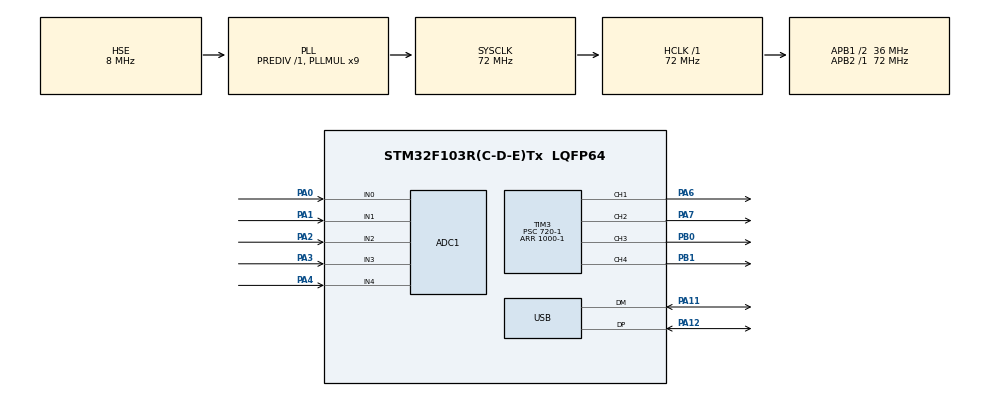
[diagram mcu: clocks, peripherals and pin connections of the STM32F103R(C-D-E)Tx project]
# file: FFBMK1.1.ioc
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ADC1.Channel-0\#ChannelRegularConversion=ADC_CHANNEL_0
ADC1.Channel-1\#ChannelRegularConversion=ADC_CHANNEL_1
ADC1.Channel-3\#ChannelRegularConversion=ADC_CHANNEL_2
ADC1.Channel-4\#ChannelRegularConversion=ADC_CHANNEL_3
ADC1.Channel-5\#ChannelRegularConversion=ADC_CHANNEL_4
ADC1.ContinuousConvMode=DISABLE
ADC1.DataAlign=ADC_DATAALIGN_RIGHT
ADC1.DiscontinuousConvMode=DISABLE
ADC1.EnableAnalogWatchDog=false
ADC1.EnableRegularConversion=ENABLE
ADC1.ExternalTrigConvEdgeChoice=NONE
ADC1.InjNumberOfConversion=0
ADC1.NbrOfConversion=5
ADC1.NbrOfConversionFlag=1
ADC1.Rank-0\#ChannelRegularConversion=1
ADC1.Rank-1\#ChannelRegularConversion=2
ADC1.Rank-3\#ChannelRegularConversion=3
ADC1.Rank-4\#ChannelRegularConversion=4
ADC1.Rank-5\#ChannelRegularConversion=5
ADC1.SamplingTime-0\#ChannelRegularConversion=ADC_SAMPLETIME_13CYCLES_5
ADC1.SamplingTime-1\#ChannelRegularConversion=ADC_SAMPLETIME_13CYCLES_5
ADC1.SamplingTime-3\#ChannelRegularConversion=ADC_SAMPLETIME_13CYCLES_5
ADC1.SamplingTime-4\#ChannelRegularConversion=ADC_SAMPLETIME_13CYCLES_5
ADC1.SamplingTime-5\#ChannelRegularConversion=ADC_SAMPLETIME_13CYCLES_5
ADC1.ScanConvMode=ADC_SCAN_ENABLE
ADC1.master=1
Dma.ADC1.0.Direction=DMA_PERIPH_TO_MEMORY
Dma.ADC1.0.Instance=DMA1_Channel1
Dma.ADC1.0.MemDataAlignment=DMA_MDATAALIGN_HALFWORD
Dma.ADC1.0.MemInc=DMA_MINC_ENABLE
Dma.ADC1.0.Mode=DMA_NORMAL
Dma.ADC1.0.PeriphDataAlignment=DMA_PDATAALIGN_HALFWORD
Dma.ADC1.0.PeriphInc=DMA_PINC_DISABLE
Dma.ADC1.0.Priority=DMA_PRIORITY_LOW
Dma.Request0=ADC1
Mcu.Family=STM32F1
Mcu.Name=STM32F103R(C-D-E)Tx
Mcu.Package=LQFP64
NVIC.DMA1_Channel1_IRQn=true\:0\:0\:false\:false\:true
NVIC.PriorityGroup=NVIC_PRIORITYGROUP_4
NVIC.USB_LP_CAN1_RX0_IRQn=true\:0\:0\:false\:false\:true
PA0-WKUP.Signal=ADCx_IN0
PA1.Signal=ADCx_IN1
PA11.Mode=Device
PA11.Signal=USB_DM
PA12.Mode=Device
PA12.Signal=USB_DP
PA13.Mode=Serial_Wire
PA13.Signal=SYS_JTMS-SWDIO
PA14.Mode=Serial_Wire
PA14.Signal=SYS_JTCK-SWCLK
PA2.Signal=ADCx_IN2
PA3.Signal=ADCx_IN3
PA4.Signal=ADCx_IN4
PA6.Signal=S_TIM3_CH1
PA7.Signal=S_TIM3_CH2
PB0.Signal=S_TIM3_CH3
PB1.Signal=S_TIM3_CH4
PD0-OSC_IN.Mode=HSE-External-Oscillator
PD0-OSC_IN.Signal=RCC_OSC_IN
PD1-OSC_OUT.Mode=HSE-External-Oscillator
PD1-OSC_OUT.Signal=RCC_OSC_OUT
ProjectManager.HeapSize=0x200
ProjectManager.StackSize=0x400
ProjectManager.TargetToolchain=MDK-ARM V4
RCC.ADCPresc=RCC_ADCPCLK2_DIV6
RCC.AHBFreq_Value=72000000
RCC.APB1CLKDivider=RCC_HCLK_DIV2
RCC.APB1Freq_Value=36000000
RCC.APB1TimFreq_Value=72000000
RCC.APB2Freq_Value=72000000
RCC.APB2TimFreq_Value=72000000
RCC.HCLKFreq_Value=72000000
RCC.HSIState=RCC_HSI_ON
RCC.PLLMUL=RCC_PLL_MUL9
RCC.SYSCLKFreq_VALUE=72000000
RCC.SYSCLKSource=RCC_SYSCLKSOURCE_PLLCLK
RCC.USBFreq_Value=48000000
RCC.USBPrescaler=RCC_USBCLKSOURCE_PLL_DIV1_5
SH.ADCx_IN0.0=ADC1_IN0,IN0
SH.ADCx_IN1.0=ADC1_IN1,IN1
SH.ADCx_IN2.0=ADC1_IN2,IN2
SH.ADCx_IN3.0=ADC1_IN3,IN3
SH.ADCx_IN4.0=ADC1_IN4,IN4
SH.S_TIM3_CH1.0=TIM3_CH1,PWM Generation1 CH1
SH.S_TIM3_CH2.0=TIM3_CH2,PWM Generation2 CH2
SH.S_TIM3_CH3.0=TIM3_CH3,PWM Generation3 CH3
SH.S_TIM3_CH4.0=TIM3_CH4,PWM Generation4 CH4
TIM3.Channel-PWM\ Generation2\ CH2=TIM_CHANNEL_2
TIM3.Channel-PWM\ Generation3\ CH3=TIM_CHANNEL_3
TIM3.Channel-PWM\ Generation4\ CH4=TIM_CHANNEL_4
TIM3.OCMode_PWM-PWM\ Generation1\ CH1=TIM_OCMODE_PWM2
TIM3.OCMode_PWM-PWM\ Generation2\ CH2=TIM_OCMODE_PWM2
TIM3.OCMode_PWM-PWM\ Generation3\ CH3=TIM_OCMODE_PWM2
TIM3.OCMode_PWM-PWM\ Generation4\ CH4=TIM_OCMODE_PWM2
TIM3.Period=1000-1
TIM3.Prescaler=720-1
TIM3.Pulse-PWM\ Generation1\ CH1=101
TIM3.Pulse-PWM\ Generation2\ CH2=202
TIM3.Pulse-PWM\ Generation3\ CH3=303
TIM3.Pulse-PWM\ Generation4\ CH4=404
USB.ep0_mps=DEP0CTL_MPS_64
USB_DEVICE.CONFIGURATION_STRING_HID_FS=HID-PID FFBMK1
USB_DEVICE.INTERFACE_STRING_HID_FS=PID Interface FFBMK1
USB_DEVICE.PRODUCT_STRING_HID_FS=STM32 Human interface FFBMK1
USB_DEVICE.USBD_HandleTypeDef=hUsbDeviceFS
USB_DEVICE.USBD_SELF_POWERED=0
USB_DEVICE.USBD_SUPPORT_USER_STRING=1
USB_DEVICE.VirtualMode=Hid
USB_DEVICE.VirtualModeFS=Hid_FS
VP_USB_DEVICE_VS_USB_DEVICE_HID_FS.Mode=HID_FS
board=FFBMK1.1

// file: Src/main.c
/**
  ******************************************************************************
  * File Name      : main.c
  * Description    : Main program body
  ******************************************************************************
  *
  * COPYRIGHT(c) 2016 STMicroelectronics
  *
  * Redistribution and use in source and binary forms, with or without modification,
  * are permitted provided that the following conditions are met:
  *   1. Redistributions of source code must retain the above copyright notice,
  *    this list of conditions and the following disclaimer.
  *   2. Redistributions in binary form must reproduce the above copyright notice,
  *    this list of conditions and the following disclaimer in the documentation
  *    and/or other materials provided with the distribution.
  *   3. Neither the name of STMicroelectronics nor the names of its contributors
  *    may be used to endorse or promote products derived from this software
  *    without specific prior written permission.
  *
  * THIS SOFTWARE IS PROVIDED BY THE COPYRIGHT HOLDERS AND CONTRIBUTORS "AS IS"
  * AND ANY EXPRESS OR IMPLIED WARRANTIES, INCLUDING, BUT NOT LIMITED TO, THE
  * IMPLIED WARRANTIES OF MERCHANTABILITY AND FITNESS FOR A PARTICULAR PURPOSE ARE
  * DISCLAIMED. IN NO EVENT SHALL THE COPYRIGHT HOLDER OR CONTRIBUTORS BE LIABLE
  * FOR ANY DIRECT, INDIRECT, INCIDENTAL, SPECIAL, EXEMPLARY, OR CONSEQUENTIAL
  * DAMAGES (INCLUDING, BUT NOT LIMITED TO, PROCUREMENT OF SUBSTITUTE GOODS OR
  * SERVICES; LOSS OF USE, DATA, OR PROFITS; OR BUSINESS INTERRUPTION) HOWEVER
  * CAUSED AND ON ANY THEORY OF LIABILITY, WHETHER IN CONTRACT, STRICT LIABILITY,
  * OR TORT (INCLUDING NEGLIGENCE OR OTHERWISE) ARISING IN ANY WAY OUT OF THE USE
  * OF THIS SOFTWARE, EVEN IF ADVISED OF THE POSSIBILITY OF SUCH DAMAGE.
  *
  ******************************************************************************
  */
#include "stm32f1xx_hal.h"
#include "usb_device.h"

/* USER CODE BEGIN Includes */
#include "usbd_hid.h"
#include "ffb_stick.h"
/* USER CODE END Includes */

ADC_HandleTypeDef hadc1;
DMA_HandleTypeDef hdma_adc1;
TIM_HandleTypeDef htim3;

/* USER CODE BEGIN PV */
/* Private variables ---------------------------------------------------------*/
const uint8_t Converted_Values_len = 5;
uint32_t ADC_Converted_Values[Converted_Values_len];
/* USER CODE END PV */

void SystemClock_Config(void);
void Error_Handler(void);
static void MX_GPIO_Init(void);
static void MX_DMA_Init(void);
static void MX_ADC1_Init(void);
static void MX_TIM3_Init(void);

void HAL_TIM_MspPostInit(TIM_HandleTypeDef *htim);

/* USER CODE BEGIN PFP */
/* Private function prototypes -----------------------------------------------*/
void HAL_ADC_ConvCpltCallback(ADC_HandleTypeDef *hadc);
void User_Defined_Init(void);
void HAL_GPIO_EXTI_Callback(uint16_t GPIO_Pin);
/* USER CODE END PFP */

int main(void) {

  /* MCU Configuration----------------------------------------------------------*/

  /* Reset of all peripherals, Initializes the Flash interface and the Systick. */
  HAL_Init();

  /* Configure the system clock */
  SystemClock_Config();

  /* Initialize all configured peripherals */
  MX_GPIO_Init();
  MX_DMA_Init();
  MX_ADC1_Init();
  MX_USB_DEVICE_Init();
  MX_TIM3_Init();

  /* USER CODE BEGIN 2 */
  User_Defined_Init(); //GPIO Init
	stick_Init();
	HAL_Delay(20);
	HAL_GPIO_WritePin(GPIOC, GPIO_PIN_10, GPIO_PIN_RESET);
  /* USER CODE END 2 */

  /* Infinite loop */
  while (1) {
    /* USER CODE BEGIN WHILE */
    HAL_ADC_Start_DMA(&hadc1, ADC_Converted_Values, Converted_Values_len);
    stick_EffectExecuter();
    //HAL_Delay(5);
    /* USER CODE END WHILE */
  };

}

/** System Clock Configuration
*/
void SystemClock_Config(void) {

  RCC_OscInitTypeDef RCC_OscInitStruct;
  RCC_ClkInitTypeDef RCC_ClkInitStruct;
  RCC_PeriphCLKInitTypeDef PeriphClkInit;

  RCC_OscInitStruct.OscillatorType = RCC_OSCILLATORTYPE_HSE;
  RCC_OscInitStruct.HSEState = RCC_HSE_ON;
  RCC_OscInitStruct.HSEPredivValue = RCC_HSE_PREDIV_DIV1;
  RCC_OscInitStruct.PLL.PLLState = RCC_PLL_ON;
  RCC_OscInitStruct.PLL.PLLSource = RCC_PLLSOURCE_HSE;
  RCC_OscInitStruct.PLL.PLLMUL = RCC_PLL_MUL9;
  if (HAL_RCC_OscConfig(&RCC_OscInitStruct) != HAL_OK) {
    Error_Handler();
  }

  RCC_ClkInitStruct.ClockType = RCC_CLOCKTYPE_HCLK | RCC_CLOCKTYPE_SYSCLK
                  | RCC_CLOCKTYPE_PCLK1 | RCC_CLOCKTYPE_PCLK2;
  RCC_ClkInitStruct.SYSCLKSource = RCC_SYSCLKSOURCE_PLLCLK;
  RCC_ClkInitStruct.AHBCLKDivider = RCC_SYSCLK_DIV1;
  RCC_ClkInitStruct.APB1CLKDivider = RCC_HCLK_DIV2;
  RCC_ClkInitStruct.APB2CLKDivider = RCC_HCLK_DIV1;
  if (HAL_RCC_ClockConfig(&RCC_ClkInitStruct, FLASH_LATENCY_2) != HAL_OK) {
    Error_Handler();
  }

  PeriphClkInit.PeriphClockSelection = RCC_PERIPHCLK_ADC | RCC_PERIPHCLK_USB;
  PeriphClkInit.AdcClockSelection = RCC_ADCPCLK2_DIV6;
  PeriphClkInit.UsbClockSelection = RCC_USBCLKSOURCE_PLL_DIV1_5;
  if (HAL_RCCEx_PeriphCLKConfig(&PeriphClkInit) != HAL_OK) {
    Error_Handler();
  }

  HAL_SYSTICK_Config(HAL_RCC_GetHCLKFreq() / 1000);

  HAL_SYSTICK_CLKSourceConfig(SYSTICK_CLKSOURCE_HCLK);

  /* SysTick_IRQn interrupt configuration */
  HAL_NVIC_SetPriority(SysTick_IRQn, 0, 0);
}

/* ADC1 init function */
static void MX_ADC1_Init(void) {

  ADC_ChannelConfTypeDef sConfig;

  /**Common config
  */
  hadc1.Instance = ADC1;
  hadc1.Init.ScanConvMode = ADC_SCAN_ENABLE;
  hadc1.Init.ContinuousConvMode = DISABLE;
  hadc1.Init.DiscontinuousConvMode = DISABLE;
  hadc1.Init.ExternalTrigConv = ADC_SOFTWARE_START;
  hadc1.Init.DataAlign = ADC_DATAALIGN_RIGHT;
  hadc1.Init.NbrOfConversion = 5;
  if (HAL_ADC_Init(&hadc1) != HAL_OK) {
    Error_Handler();
  }

  /**Configure Regular Channel
  */
  sConfig.Channel = ADC_CHANNEL_0;
  sConfig.Rank = 1;
  sConfig.SamplingTime = ADC_SAMPLETIME_13CYCLES_5;
  if (HAL_ADC_ConfigChannel(&hadc1, &sConfig) != HAL_OK) {
    Error_Handler();
  }

  /**Configure Regular Channel
  */
  sConfig.Channel = ADC_CHANNEL_1;
  sConfig.Rank = 2;
  if (HAL_ADC_ConfigChannel(&hadc1, &sConfig) != HAL_OK) {
    Error_Handler();
  }

  /**Configure Regular Channel
  */
  sConfig.Channel = ADC_CHANNEL_2;
  sConfig.Rank = 3;
  if (HAL_ADC_ConfigChannel(&hadc1, &sConfig) != HAL_OK) {
    Error_Handler();
  }

  /**Configure Regular Channel
  */
  sConfig.Channel = ADC_CHANNEL_3;
  sConfig.Rank = 4;
  if (HAL_ADC_ConfigChannel(&hadc1, &sConfig) != HAL_OK) {
    Error_Handler();
  }

  /**Configure Regular Channel
  */
  sConfig.Channel = ADC_CHANNEL_4;
  sConfig.Rank = 5;
  if (HAL_ADC_ConfigChannel(&hadc1, &sConfig) != HAL_OK) {
    Error_Handler();
  }

}

/* TIM3 init function */
static void MX_TIM3_Init(void) {

  TIM_MasterConfigTypeDef sMasterConfig;
  TIM_OC_InitTypeDef sConfigOC;

  htim3.Instance = TIM3;
  htim3.Init.Prescaler = 7 - 1;
  htim3.Init.CounterMode = TIM_COUNTERMODE_UP;
  htim3.Init.Period = 1000 - 1;
  htim3.Init.ClockDivision = TIM_CLOCKDIVISION_DIV1;
  if (HAL_TIM_PWM_Init(&htim3) != HAL_OK) {
    Error_Handler();
  }

  sMasterConfig.MasterOutputTrigger = TIM_TRGO_RESET;
  sMasterConfig.MasterSlaveMode = TIM_MASTERSLAVEMODE_DISABLE;
  if (HAL_TIMEx_MasterConfigSynchronization(&htim3, &sMasterConfig) != HAL_OK) {
    Error_Handler();
  }

  sConfigOC.OCMode = TIM_OCMODE_PWM1;
  sConfigOC.Pulse = 0;
  sConfigOC.OCPolarity = TIM_OCPOLARITY_HIGH;
  sConfigOC.OCFastMode = TIM_OCFAST_DISABLE;
  if (HAL_TIM_PWM_ConfigChannel(&htim3, &sConfigOC, TIM_CHANNEL_1) != HAL_OK) {
    Error_Handler();
  }

  if (HAL_TIM_PWM_ConfigChannel(&htim3, &sConfigOC, TIM_CHANNEL_2) != HAL_OK) {
    Error_Handler();
  }

  if (HAL_TIM_PWM_ConfigChannel(&htim3, &sConfigOC, TIM_CHANNEL_3) != HAL_OK) {
    Error_Handler();
  }

  if (HAL_TIM_PWM_ConfigChannel(&htim3, &sConfigOC, TIM_CHANNEL_4) != HAL_OK) {
    Error_Handler();
  }

  HAL_TIM_MspPostInit(&htim3);
}

static void MX_DMA_Init(void) {
  /* DMA controller clock enable */
  __HAL_RCC_DMA1_CLK_ENABLE();

  /* DMA interrupt init */
  /* DMA1_Channel1_IRQn interrupt configuration */
  HAL_NVIC_SetPriority(DMA1_Channel1_IRQn, 0, 0);
  HAL_NVIC_EnableIRQ(DMA1_Channel1_IRQn);

}

/** Configure pins as
    * Analog
    * Input
    * Output
    * EVENT_OUT
    * EXTI
*/
static void MX_GPIO_Init(void) {

  /* GPIO Ports Clock Enable */
  __HAL_RCC_GPIOD_CLK_ENABLE();
  __HAL_RCC_GPIOA_CLK_ENABLE();
  __HAL_RCC_GPIOB_CLK_ENABLE();
  __HAL_RCC_GPIOC_CLK_ENABLE();//user defined
}

/* USER CODE BEGIN 4 */
void HAL_ADC_ConvCpltCallback(ADC_HandleTypeDef *hadc) {
  UNUSED(hadc);
  HAL_ADC_Stop_DMA(&hadc1);
  HID_GenerateInputRpt(ADC_Converted_Values);
}
void User_Defined_Init(void) {
  GPIO_InitTypeDef GPIO_InitStructure;
  GPIO_InitStructure.Mode = GPIO_MODE_IT_FALLING;
  GPIO_InitStructure.Pull = GPIO_NOPULL;
  GPIO_InitStructure.Pin = GPIO_PIN_2;
  GPIO_InitStructure.Speed = GPIO_SPEED_HIGH;
  HAL_GPIO_Init(GPIOC, &GPIO_InitStructure);
  HAL_NVIC_SetPriority(EXTI2_IRQn, 0, 0);
  HAL_NVIC_EnableIRQ(EXTI2_IRQn); //PC_2 set as EXIT calibration (falling)

  GPIO_InitStructure.Mode = GPIO_MODE_OUTPUT_PP;
	GPIO_InitStructure.Pull = GPIO_NOPULL;
	GPIO_InitStructure.Pin = GPIO_PIN_11 | GPIO_PIN_12 | GPIO_PIN_10;
	GPIO_InitStructure.Speed = GPIO_SPEED_HIGH;
	HAL_GPIO_Init(GPIOC, &GPIO_InitStructure);
	//PC_11 set as Dataout Indicator
	//PC_12 set as mode Indicator
	//PC_10 set as ItfReq Indicator

	GPIO_InitStructure.Pin = GPIO_PIN_4;
	HAL_GPIO_Init(GPIOB, &GPIO_InitStructure);
	//PB_04 set as DataIn Indicator

	GPIO_InitStructure.Mode = GPIO_MODE_INPUT;
	GPIO_InitStructure.Pin = GPIO_PIN_3;
	HAL_GPIO_Init(GPIOB, &GPIO_InitStructure); //PB_3 set as input MODE Switcher
}
void HAL_GPIO_EXTI_Callback(uint16_t GPIO_Pin) {
  UNUSED(GPIO_Pin);
  if (GPIO_Pin == GPIO_PIN_2) {
    stick_Position_Calibration();
  }
}
/* USER CODE END 4 */

void Error_Handler(void) {
  while(1) {
  }
}

/************************ (C) COPYRIGHT STMicroelectronics *****END OF FILE****/
